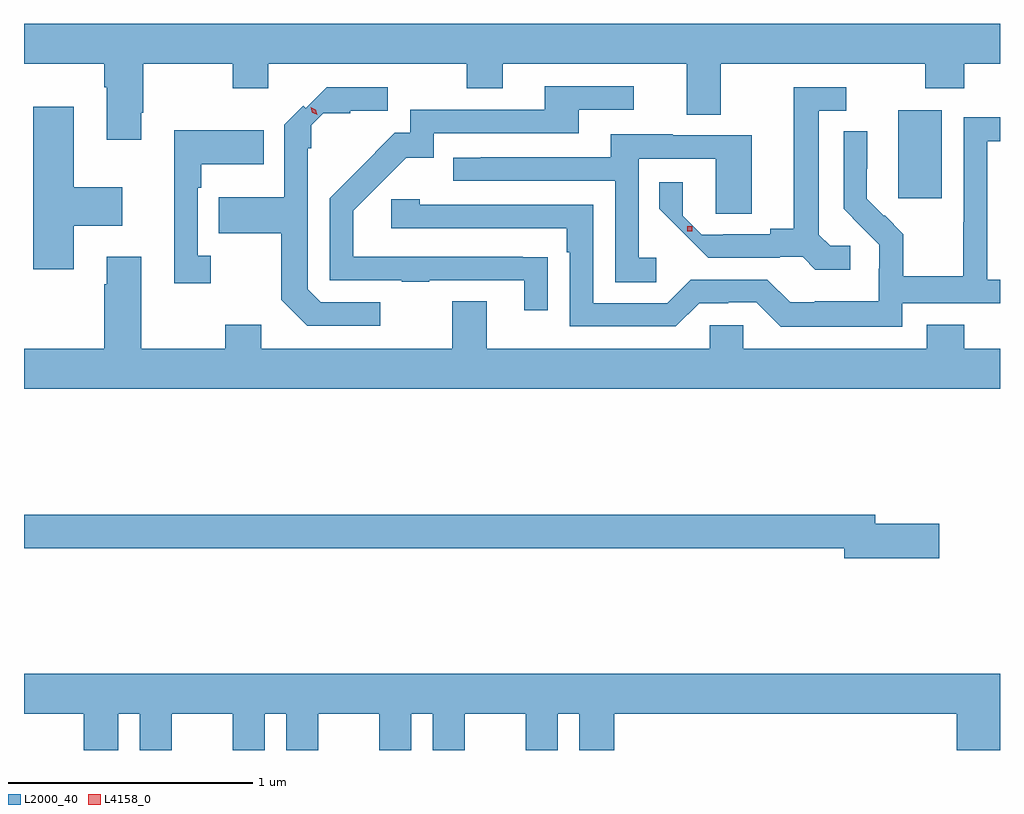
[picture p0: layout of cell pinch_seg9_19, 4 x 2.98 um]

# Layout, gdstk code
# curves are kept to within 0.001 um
import gdstk
lib = gdstk.Library(unit=1e-6, precision=1e-09)
def R(c, l, rs):  # rectangles x0, y0, x1, y1
    for r in rs: c.add(gdstk.rectangle(r[:2], r[2:], *l))
def P(c, l, *ps):  # polygons
    for p in ps: c.add(gdstk.Polygon(p, *l))
L2000_40 = (2000, 40)
L4158_0 = (4158, 0)

pinch_seg9_19 = lib.new_cell('pinch_seg9_19')
R(pinch_seg9_19, L2000_40, [(1146.362,1210.521,1146.541,1210.882)])
P(pinch_seg9_19, L2000_40, [(1143.259,1210.873),(1143.267,1210.873),(1143.267,1211.072),(1143.634,1211.072),(1143.634,1210.973),(1143.781,1210.973),(1143.781,1211.072),(1144.594,1211.072),(1144.594,1210.973),(1144.741,1210.973),(1144.741,1211.072),(1145.495,1211.072),(1145.495,1210.864),(1145.635,1210.864),(1145.635,1211.072),(1146.472,1211.072),(1146.472,1210.973),(1146.632,1210.973),(1146.632,1211.072),(1146.779,1211.072),(1146.779,1211.236),(1142.779,1211.236),(1142.779,1211.072),(1143.107,1211.072),(1143.107,1210.976),(1143.119,1210.976),(1143.119,1210.761),(1143.259,1210.761)],
  [(1144.925,1210.28),(1144.129,1210.281),(1144.129,1210.47),(1144.346,1210.687),(1144.458,1210.687),(1144.458,1210.788),(1145.053,1210.788),(1145.053,1210.884),(1145.278,1210.884),(1145.278,1210.98),(1144.913,1210.98),(1144.913,1210.884),(1144.362,1210.884),(1144.362,1210.79),(1144.299,1210.79),(1144.032,1210.521),(1144.032,1210.185),(1144.327,1210.185),(1144.327,1210.18),(1144.439,1210.18),(1144.439,1210.185),(1144.829,1210.185),(1144.829,1210.062),(1144.925,1210.062)],
  [(1146.166,1210.326),(1146.084,1210.326),(1146.037,1210.373),(1146.037,1210.881),(1146.148,1210.881),(1146.148,1210.977),(1145.933,1210.977),(1145.933,1210.397),(1145.837,1210.397),(1145.837,1210.374),(1145.644,1210.374),(1145.644,1210.371),(1145.556,1210.371),(1145.478,1210.449),(1145.478,1210.588),(1145.383,1210.588),(1145.383,1210.478),(1145.583,1210.278),(1145.876,1210.278),(1145.876,1210.281),(1145.97,1210.281),(1146.022,1210.229),(1146.166,1210.229)],
  [(1144.24,1210.095),(1143.996,1210.095),(1143.942,1210.149),(1143.942,1210.727),(1143.956,1210.727),(1143.956,1210.82),(1144.006,1210.87),(1144.116,1210.87),(1144.116,1210.881),(1144.27,1210.881),(1144.27,1210.977),(1144.019,1210.977),(1143.933,1210.891),(1143.923,1210.9),(1143.846,1210.822),(1143.846,1210.525),(1143.577,1210.525),(1143.577,1210.378),(1143.834,1210.378),(1143.834,1210.105),(1143.939,1209.999),(1144.24,1209.999)],
  [(1142.983,1210.409),(1143.181,1210.409),(1143.181,1210.567),(1142.983,1210.567),(1142.983,1210.897),(1142.816,1210.897),(1142.816,1210.23),(1142.983,1210.23)],
  [(1146.378,1210.092),(1146.779,1210.092),(1146.779,1210.188),(1146.726,1210.188),(1146.726,1210.755),(1146.779,1210.755),(1146.779,1210.854),(1146.63,1210.854),(1146.63,1210.424),(1146.628,1210.424),(1146.628,1210.201),(1146.383,1210.201),(1146.383,1210.375),(1146.306,1210.452),(1146.303,1210.449),(1146.233,1210.52),(1146.234,1210.796),(1146.138,1210.796),(1146.138,1210.478),(1146.284,1210.33),(1146.284,1210.233),(1146.282,1210.233),(1146.282,1210.099),(1146.019,1210.099),(1146.019,1210.095),(1145.919,1210.095),(1145.826,1210.188),(1145.511,1210.188),(1145.415,1210.092),(1145.112,1210.092),(1145.112,1210.494),(1144.4,1210.494),(1144.4,1210.518),(1144.285,1210.518),(1144.285,1210.398),(1145.003,1210.398),(1145.003,1210.301),(1145.016,1210.301),(1145.016,1209.996),(1145.451,1209.996),(1145.547,1210.092),(1145.666,1210.092),(1145.666,1210.095),(1145.781,1210.095),(1145.881,1209.995),(1146.378,1209.995)],
  [(1143.544,1210.286),(1143.492,1210.286),(1143.492,1210.565),(1143.505,1210.565),(1143.505,1210.661),(1143.761,1210.661),(1143.761,1210.801),(1143.395,1210.801),(1143.395,1210.173),(1143.544,1210.173)],
  [(1145.371,1210.278),(1145.298,1210.278),(1145.298,1210.683),(1145.615,1210.683),(1145.615,1210.459),(1145.761,1210.459),(1145.761,1210.779),(1145.437,1210.779),(1145.437,1210.783),(1145.183,1210.783),(1145.183,1210.689),(1144.651,1210.689),(1144.651,1210.687),(1144.539,1210.687),(1144.539,1210.593),(1145.202,1210.593),(1145.202,1210.177),(1145.371,1210.177)],
  [(1146.779,1209.904),(1146.632,1209.904),(1146.632,1210.003),(1146.479,1210.003),(1146.479,1209.904),(1145.727,1209.904),(1145.727,1210.002),(1145.589,1210.002),(1145.589,1209.904),(1144.675,1209.904),(1144.675,1210.099),(1144.535,1210.099),(1144.535,1209.904),(1143.751,1209.904),(1143.751,1210.003),(1143.604,1210.003),(1143.604,1209.904),(1143.259,1209.904),(1143.259,1210.282),(1143.119,1210.282),(1143.119,1210.169),(1143.107,1210.169),(1143.107,1209.904),(1142.779,1209.904),(1142.779,1209.74),(1146.779,1209.74)],
  [(1146.529,1209.188),(1146.268,1209.188),(1146.268,1209.224),(1142.779,1209.224),(1142.779,1209.088),(1146.14,1209.088),(1146.14,1209.046),(1146.529,1209.046)],
  [(1143.166,1208.408),(1143.254,1208.408),(1143.254,1208.26),(1143.385,1208.26),(1143.385,1208.408),(1143.635,1208.408),(1143.635,1208.26),(1143.766,1208.26),(1143.766,1208.408),(1143.854,1208.408),(1143.854,1208.26),(1143.985,1208.26),(1143.985,1208.408),(1144.235,1208.408),(1144.235,1208.26),(1144.366,1208.26),(1144.366,1208.408),(1144.454,1208.408),(1144.454,1208.26),(1144.585,1208.26),(1144.585,1208.408),(1144.835,1208.408),(1144.835,1208.26),(1144.966,1208.26),(1144.966,1208.408),(1145.054,1208.408),(1145.054,1208.26),(1145.198,1208.26),(1145.198,1208.408),(1146.602,1208.408),(1146.602,1208.26),(1146.779,1208.26),(1146.779,1208.572),(1142.779,1208.572),(1142.779,1208.408),(1143.023,1208.408),(1143.023,1208.26),(1143.166,1208.26)])
R(pinch_seg9_19, L4158_0, [(1145.497,1210.387,1145.517,1210.407)])
P(pinch_seg9_19, L4158_0, [(1143.98,1210.863),(1143.96,1210.872),(1143.955,1210.894),(1143.955,1210.894),(1143.955,1210.894),(1143.975,1210.885),(1143.98,1210.863),(1143.98,1210.863)])

lib.write_gds('pinch_seg9_19.gds')
